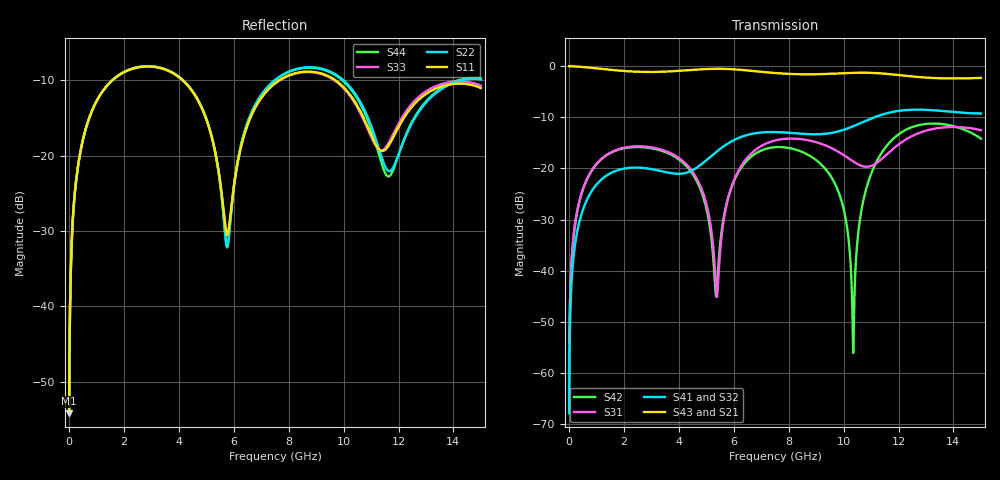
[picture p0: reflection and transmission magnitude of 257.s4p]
! Created with skrf 1.8.0 (http://scikit-rf.org).
# GHz S RI R 50.0
!freq ReS11 ImS11 ReS12 ImS12 ReS13 ImS13
! ReS14 ImS14
! ReS21 ImS21 ReS22 ImS22 ReS23 ImS23
! ReS24 ImS24
! ReS31 ImS31 ReS32 ImS32 ReS33 ImS33
! ReS34 ImS34
! ReS41 ImS41 ReS42 ImS42 ReS43 ImS43
! ReS44 ImS44
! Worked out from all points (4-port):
!   2499 points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, 5 MHz to 15 GHz, reference 50 ohm
!   strongest paths, dB at 5 MHz, 3.476 GHz, 7.19 GHz, 11.1 GHz, 15 GHz:
!     S43: 0.0, -1.1, -1.2, -1.3, -2.3
!     S21: 0.0, -1.1, -1.2, -1.4, -2.3
!     S41: -67.8, -20.7, -12.9, -10.0, -9.3
!     S32: -67.8, -20.7, -12.9, -10.1, -9.3
!     S31: -63.8, -16.5, -15.1, -19.3, -12.5
!     S42: -63.8, -16.7, -16.1, -19.8, -14.2
!   lowest |S11| = -54.2 dB at 5 MHz (marker M1), VSWR 1.00, Z = 50.2 + j0.118 ohm
!   |S11| at or under -10 dB: start of sweep to 1.585 GHz; 4.138 GHz to 7.67 GHz (3.532 GHz wide, 59.8 % of centre); 9.698 GHz to end of sweep
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0.005  0.00156 0.00118  0.9984 -0.00303  7.89e-05 0.000643  -7.64e-05 -0.000399
       0.9984 -0.00303  0.00156 0.00118  -7.64e-05 -0.000399  7.88e-05 0.000643
       7.89e-05 0.000643  -7.64e-05 -0.000399  0.00156 0.00118  0.9984 -0.00303
       -7.64e-05 -0.000399  7.88e-05 0.000643  0.9984 -0.00303  0.00156 0.00118
1.519383  0.2466 0.1848  0.596 -0.7002  0.1262 0.0681  -0.089 -0.0139
          0.596 -0.7002  0.2479 0.1841  -0.089 -0.0139  0.1221 0.0729
          0.1262 0.0681  -0.089 -0.0139  0.2466 0.1847  0.5961 -0.7002
          -0.089 -0.0139  0.1221 0.0729  0.5961 -0.7002  0.2478 0.1841
5.796165  0.0301 0.00535  -0.9359 -0.0471  0.0119 0.0495  -0.00334 0.1759
          -0.9359 -0.0471  0.0254 0.00671  -0.00385 0.1759  0.00232 0.052
          0.0119 0.0495  -0.00385 0.1759  0.0302 0.0059  -0.9359 -0.0473
          -0.00334 0.1759  0.00232 0.052  -0.9359 -0.0473  0.0251 0.00719
9.097541  0.3512 -0.0426  0.0684 0.8297  0.1018 -0.1453  0.2049 -0.0687
          0.0684 0.8297  0.3742 -0.0691  0.2049 -0.0677  0.1074 -0.0412
          0.1018 -0.1453  0.2049 -0.0677  0.3483 -0.0412  0.0677 0.8311
          0.2049 -0.0687  0.1074 -0.0412  0.0677 0.8311  0.3707 -0.0689
10.34806  0.1988 -0.1291  0.5766 0.6347  -0.0692 -0.0946  0.186 -0.1796
          0.5766 0.6347  0.202 -0.1767  0.1865 -0.1785  0.00149 0.000523
          -0.0692 -0.0946  0.1865 -0.1785  0.196 -0.1236  0.5777 0.6358
          0.186 -0.1796  0.00149 0.000523  0.5777 0.6358  0.1962 -0.1741
11.5173  0.109 0.00598  0.8297 0.1429  -0.0615 0.1179  0.0528 -0.3388
         0.8297 0.1429  0.0753 -0.038  0.0542 -0.3375  0.028 0.1572
         -0.0615 0.1179  0.0542 -0.3375  0.1114 0.0149  0.83 0.1422
         0.0528 -0.3388  0.028 0.1572  0.83 0.1422  0.0701 -0.0306
15  0.2689 -0.0784  -0.00736 -0.7694  0.1647 -0.1696  -0.3341 0.083
    -0.00736 -0.7694  0.3097 -0.0804  -0.3336 0.0779  0.1836 -0.0683
    0.1647 -0.1696  -0.3336 0.0779  0.2782 -0.0833  -0.0021 -0.7669
    -0.3341 0.083  0.1836 -0.0683  -0.0021 -0.7669  0.3168 -0.0728
